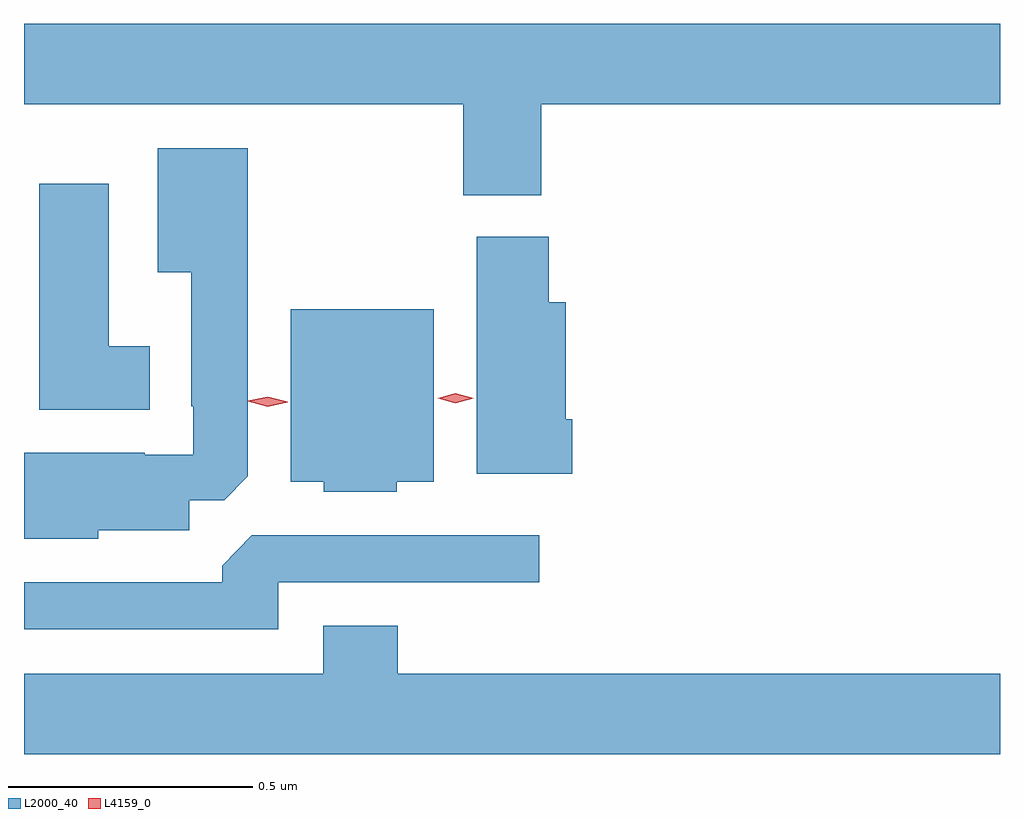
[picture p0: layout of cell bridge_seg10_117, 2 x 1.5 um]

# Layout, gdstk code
import gdstk
lib = gdstk.Library(unit=1e-6, precision=1e-09)
def P(c, l, *ps):  # polygons
    for p in ps: c.add(gdstk.Polygon(p, *l))
L2000_40 = (2000, 40)
L4159_0 = (4159, 0)

bridge_seg10_117 = lib.new_cell('bridge_seg10_117')
P(bridge_seg10_117, L2000_40, [(411.68,1297.652),(412.62,1297.652),(412.62,1297.816),(410.62,1297.816),(410.62,1297.652),(411.52,1297.652),(411.52,1297.465),(411.68,1297.465)],
  [(410.772,1296.779),(410.959,1296.779),(410.959,1296.84),(411.03,1296.84),(411.079,1296.889),(411.079,1297.561),(410.894,1297.561),(410.894,1297.307),(410.963,1297.307),(410.963,1297.033),(410.967,1297.033),(410.967,1296.933),(410.867,1296.933),(410.867,1296.937),(410.62,1296.937),(410.62,1296.761),(410.772,1296.761)],
  [(410.878,1297.156),(410.794,1297.156),(410.794,1297.489),(410.651,1297.489),(410.651,1297.025),(410.878,1297.025)],
  [(411.743,1297.006),(411.73,1297.006),(411.73,1297.246),(411.695,1297.246),(411.695,1297.38),(411.548,1297.38),(411.548,1296.894),(411.743,1296.894)],
  [(411.384,1296.878),(411.46,1296.878),(411.46,1297.231),(411.167,1297.231),(411.167,1296.878),(411.234,1296.878),(411.234,1296.857),(411.384,1296.857)],
  [(411.141,1296.672),(411.676,1296.672),(411.676,1296.768),(411.087,1296.768),(411.026,1296.706),(411.026,1296.672),(410.62,1296.672),(410.62,1296.576),(411.141,1296.576)],
  [(412.62,1296.484),(411.386,1296.484),(411.386,1296.583),(411.233,1296.583),(411.233,1296.484),(410.62,1296.484),(410.62,1296.32),(412.62,1296.32)])
P(bridge_seg10_117, L4159_0, [(411.504,1297.039),(411.468,1297.049),(411.467,1297.049),(411.468,1297.049),(411.504,1297.059),(411.542,1297.049),(411.542,1297.049),(411.542,1297.049)],
  [(411.119,1297.032),(411.078,1297.043),(411.078,1297.043),(411.078,1297.044),(411.119,1297.052),(411.16,1297.042),(411.16,1297.042),(411.16,1297.041)])

lib.write_gds('bridge_seg10_117.gds')
